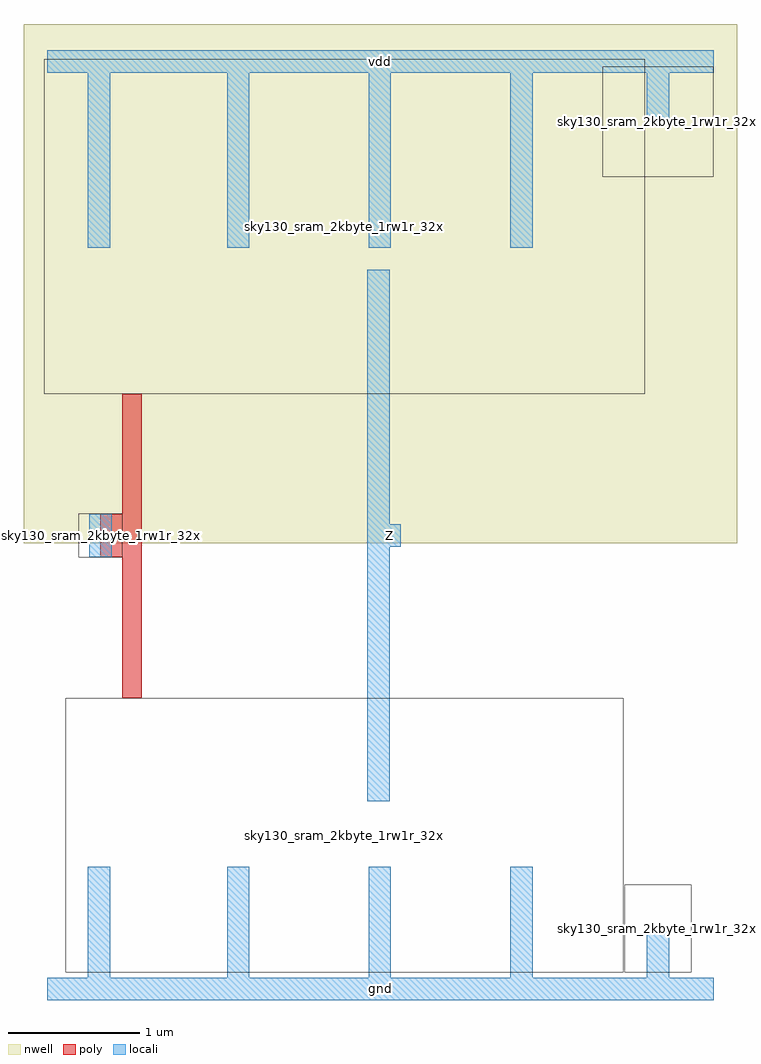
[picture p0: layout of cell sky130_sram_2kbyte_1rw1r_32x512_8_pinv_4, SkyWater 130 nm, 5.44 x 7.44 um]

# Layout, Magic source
magic
tech sky130A
magscale 1 2
<< nwell >>
rect -36 679 1052 1471
<< poly >>
rect 114 724 144 907
rect 81 658 144 724
rect 114 443 144 658
<< locali >>
rect 0 1397 1016 1431
rect 62 1130 96 1397
rect 274 1130 308 1397
rect 490 1130 524 1397
rect 706 1130 740 1397
rect 914 1322 948 1397
rect 64 658 98 724
rect 488 708 522 1096
rect 488 674 539 708
rect 488 286 522 674
rect 62 17 96 186
rect 274 17 308 186
rect 490 17 524 186
rect 706 17 740 186
rect 914 17 948 92
rect 0 -17 1016 17
use sky130_sram_2kbyte_1rw1r_32x512_8_nmos_m7_w1_680_sli_dli_da_p  sky130_sram_2kbyte_1rw1r_32x512_8_nmos_m7_w1_680_sli_dli_da_p_0
transform 1 0 54 0 1 51
box -26 -26 824 392
use sky130_sram_2kbyte_1rw1r_32x512_8_pmos_m7_w2_000_sli_dli_da_p  sky130_sram_2kbyte_1rw1r_32x512_8_pmos_m7_w2_000_sli_dli_da_p_0
transform 1 0 54 0 1 963
box -59 -56 857 454
use sky130_sram_2kbyte_1rw1r_32x512_8_contact_16  sky130_sram_2kbyte_1rw1r_32x512_8_contact_16_0
transform 1 0 48 0 1 658
box 0 0 66 66
use sky130_sram_2kbyte_1rw1r_32x512_8_contact_29  sky130_sram_2kbyte_1rw1r_32x512_8_contact_29_0
transform 1 0 906 0 1 51
box -26 -26 76 108
use sky130_sram_2kbyte_1rw1r_32x512_8_contact_28  sky130_sram_2kbyte_1rw1r_32x512_8_contact_28_0
transform 1 0 906 0 1 1281
box -59 -43 109 125
<< labels >>
rlabel locali s 81 691 81 691 4 A
rlabel locali s 522 691 522 691 4 Z
rlabel locali s 508 0 508 0 4 gnd
rlabel locali s 508 1414 508 1414 4 vdd
<< properties >>
string FIXED_BBOX 0 0 1016 1414
<< end >>
